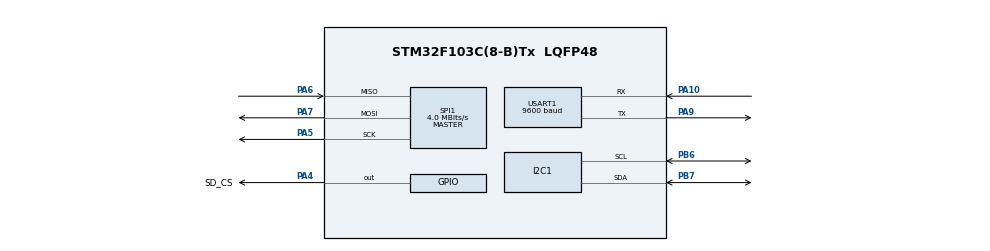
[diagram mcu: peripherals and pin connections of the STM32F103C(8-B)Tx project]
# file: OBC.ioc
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FATFS._MAX_SS=4096
Mcu.Family=STM32F1
Mcu.Name=STM32F103C(8-B)Tx
Mcu.Package=LQFP48
NVIC.I2C1_ER_IRQn=true\:0\:0\:false\:false\:true\:true\:true\:true
NVIC.I2C1_EV_IRQn=true\:0\:0\:false\:false\:true\:true\:true\:true
NVIC.PriorityGroup=NVIC_PRIORITYGROUP_4
PA10.Mode=Asynchronous
PA10.Signal=USART1_RX
PA13.Mode=Serial_Wire
PA13.Signal=SYS_JTMS-SWDIO
PA14.Mode=Serial_Wire
PA14.Signal=SYS_JTCK-SWCLK
PA4.GPIO_Label=SD_CS
PA4.Signal=GPIO_Output
PA5.Mode=Full_Duplex_Master
PA5.Signal=SPI1_SCK
PA6.Mode=Full_Duplex_Master
PA6.Signal=SPI1_MISO
PA7.Mode=Full_Duplex_Master
PA7.Signal=SPI1_MOSI
PA9.Mode=Asynchronous
PA9.Signal=USART1_TX
PB6.Mode=I2C
PB6.Signal=I2C1_SCL
PB7.Mode=I2C
PB7.Signal=I2C1_SDA
ProjectManager.HeapSize=0x200
ProjectManager.StackSize=0x400
ProjectManager.TargetToolchain=STM32CubeIDE
RCC.APB1Freq_Value=8000000
RCC.APB2Freq_Value=8000000
SPI1.BaudRatePrescaler=SPI_BAUDRATEPRESCALER_2
SPI1.CalculateBaudRate=4.0 MBits/s
SPI1.Direction=SPI_DIRECTION_2LINES
SPI1.Mode=SPI_MODE_MASTER
SPI1.VirtualType=VM_MASTER
USART1.BaudRate=9600
USART1.VirtualMode=VM_ASYNC
VP_FATFS_VS_Generic.Mode=User_defined
board=custom

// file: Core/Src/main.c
/* USER CODE BEGIN Header */
/**
 ******************************************************************************
 * @file           : main.c
 * @brief          : Main program body
 ******************************************************************************
 * @attention
 *
 * Copyright (c) 2025 STMicroelectronics.
 * All rights reserved.
 *
 * This software is licensed under terms that can be found in the LICENSE file
 * in the root directory of this software component.
 * If no LICENSE file comes with this software, it is provided AS-IS.
 *
 ******************************************************************************
 */
/* USER CODE END Header */
#include "main.h"
#include "fatfs.h"

/* USER CODE BEGIN Includes */

#include <stdbool.h>
#include <stdio.h>
#include <string.h>
#include "logging.h"
/* USER CODE END Includes */

I2C_HandleTypeDef hi2c1;

SPI_HandleTypeDef hspi1;

UART_HandleTypeDef huart1;

/* USER CODE BEGIN PV */
char uart_buffer[100];

/* USER CODE END PV */

void SystemClock_Config(void);
static void MX_GPIO_Init(void);
static void MX_USART1_UART_Init(void);
static void MX_SPI1_Init(void);
static void MX_I2C1_Init(void);
/* USER CODE BEGIN PFP */
void process_SD_card(void);
void test_SD_card(void);
/* USER CODE END PFP */

int main(void)
{

  /* MCU Configuration--------------------------------------------------------*/

  /* Reset of all peripherals, Initializes the Flash interface and the Systick. */
  HAL_Init();

  /* Configure the system clock */
  SystemClock_Config();

  /* Initialize all configured peripherals */
  MX_GPIO_Init();
  MX_USART1_UART_Init();
  MX_SPI1_Init();
  MX_FATFS_Init();
  MX_I2C1_Init();
  /* USER CODE BEGIN 2 */

  Log_Init(&huart1);

  // Test logging
  Log_Write(LOG_INFO, "System initialized (Proteus test mode)");
  Log_Write(LOG_INFO, "Starting SD card operations");

  process_SD_card();

  Log_Write(LOG_INFO, "SD card operations completed");
  /* USER CODE END 2 */

  /* Infinite loop */
  /* USER CODE BEGIN WHILE */
	while (1) {
        // Example of periodic logging
        Log_Write(LOG_DEBUG, "System running in Proteus");
        HAL_Delay(5000);
    /* USER CODE END WHILE */

	}
}

void SystemClock_Config(void)
{
  RCC_OscInitTypeDef RCC_OscInitStruct = {0};
  RCC_ClkInitTypeDef RCC_ClkInitStruct = {0};

  /** Initializes the RCC Oscillators according to the specified parameters
  * in the RCC_OscInitTypeDef structure.
  */
  RCC_OscInitStruct.OscillatorType = RCC_OSCILLATORTYPE_HSI;
  RCC_OscInitStruct.HSIState = RCC_HSI_ON;
  RCC_OscInitStruct.HSICalibrationValue = RCC_HSICALIBRATION_DEFAULT;
  RCC_OscInitStruct.PLL.PLLState = RCC_PLL_NONE;
  if (HAL_RCC_OscConfig(&RCC_OscInitStruct) != HAL_OK)
  {
    Error_Handler();
  }

  /** Initializes the CPU, AHB and APB buses clocks
  */
  RCC_ClkInitStruct.ClockType = RCC_CLOCKTYPE_HCLK|RCC_CLOCKTYPE_SYSCLK
                              |RCC_CLOCKTYPE_PCLK1|RCC_CLOCKTYPE_PCLK2;
  RCC_ClkInitStruct.SYSCLKSource = RCC_SYSCLKSOURCE_HSI;
  RCC_ClkInitStruct.AHBCLKDivider = RCC_SYSCLK_DIV1;
  RCC_ClkInitStruct.APB1CLKDivider = RCC_HCLK_DIV1;
  RCC_ClkInitStruct.APB2CLKDivider = RCC_HCLK_DIV1;

  if (HAL_RCC_ClockConfig(&RCC_ClkInitStruct, FLASH_LATENCY_0) != HAL_OK)
  {
    Error_Handler();
  }
}

static void MX_I2C1_Init(void)
{

  hi2c1.Instance = I2C1;
  hi2c1.Init.ClockSpeed = 100000;
  hi2c1.Init.DutyCycle = I2C_DUTYCYCLE_2;
  hi2c1.Init.OwnAddress1 = 0;
  hi2c1.Init.AddressingMode = I2C_ADDRESSINGMODE_7BIT;
  hi2c1.Init.DualAddressMode = I2C_DUALADDRESS_DISABLE;
  hi2c1.Init.OwnAddress2 = 0;
  hi2c1.Init.GeneralCallMode = I2C_GENERALCALL_DISABLE;
  hi2c1.Init.NoStretchMode = I2C_NOSTRETCH_DISABLE;
  if (HAL_I2C_Init(&hi2c1) != HAL_OK)
  {
    Error_Handler();
  }

}

static void MX_SPI1_Init(void)
{

  /* SPI1 parameter configuration*/
  hspi1.Instance = SPI1;
  hspi1.Init.Mode = SPI_MODE_MASTER;
  hspi1.Init.Direction = SPI_DIRECTION_2LINES;
  hspi1.Init.DataSize = SPI_DATASIZE_8BIT;
  hspi1.Init.CLKPolarity = SPI_POLARITY_LOW;
  hspi1.Init.CLKPhase = SPI_PHASE_1EDGE;
  hspi1.Init.NSS = SPI_NSS_SOFT;
  hspi1.Init.BaudRatePrescaler = SPI_BAUDRATEPRESCALER_2;
  hspi1.Init.FirstBit = SPI_FIRSTBIT_MSB;
  hspi1.Init.TIMode = SPI_TIMODE_DISABLE;
  hspi1.Init.CRCCalculation = SPI_CRCCALCULATION_DISABLE;
  hspi1.Init.CRCPolynomial = 10;
  if (HAL_SPI_Init(&hspi1) != HAL_OK)
  {
    Error_Handler();
  }

}

static void MX_USART1_UART_Init(void)
{

  huart1.Instance = USART1;
  huart1.Init.BaudRate = 9600;
  huart1.Init.WordLength = UART_WORDLENGTH_8B;
  huart1.Init.StopBits = UART_STOPBITS_1;
  huart1.Init.Parity = UART_PARITY_NONE;
  huart1.Init.Mode = UART_MODE_TX_RX;
  huart1.Init.HwFlowCtl = UART_HWCONTROL_NONE;
  huart1.Init.OverSampling = UART_OVERSAMPLING_16;
  if (HAL_UART_Init(&huart1) != HAL_OK)
  {
    Error_Handler();
  }

}

static void MX_GPIO_Init(void)
{
  GPIO_InitTypeDef GPIO_InitStruct = {0};

  /* GPIO Ports Clock Enable */
  __HAL_RCC_GPIOA_CLK_ENABLE();
  __HAL_RCC_GPIOB_CLK_ENABLE();

  /*Configure GPIO pin Output Level */
  HAL_GPIO_WritePin(SD_CS_GPIO_Port, SD_CS_Pin, GPIO_PIN_RESET);

  /*Configure GPIO pin : SD_CS_Pin */
  GPIO_InitStruct.Pin = SD_CS_Pin;
  GPIO_InitStruct.Mode = GPIO_MODE_OUTPUT_PP;
  GPIO_InitStruct.Pull = GPIO_NOPULL;
  GPIO_InitStruct.Speed = GPIO_SPEED_FREQ_LOW;
  HAL_GPIO_Init(SD_CS_GPIO_Port, &GPIO_InitStruct);

}

/* USER CODE BEGIN 4 */
// In your main.c or a separate timer file
/*extern uint16_t Timer1, Timer2;

 void HAL_SYSTICK_Callback(void)
 {
 if(Timer1 > 0)
 Timer1--;
 if(Timer2 > 0)
 Timer2--;
 }*/

void process_SD_card(void) {
    FATFS FatFs;
    FRESULT fres;
    uint8_t retry_count = 0;
    const uint8_t max_retries = 3;
    char status_msg[60];

    while(retry_count < max_retries) {
        fres = f_mount(&FatFs, "", 1); // 1=Mount now

        if(fres == FR_OK) {
            uint32_t total, free;
            FATFS* fs;
            if(f_getfree("", &free, &fs) == FR_OK) {
                total = (fs->n_fatent - 2) * fs->csize / 2; // Total KB
                free = free * fs->csize / 2; // Free KB
                snprintf(status_msg, sizeof(status_msg),
                    "SD mounted (Free: %lukB/%lukB)", free, total);
                Log_Write(LOG_INFO, status_msg);
                break;
            }
        }

        snprintf(status_msg, sizeof(status_msg),
            "Mount failed (Attempt %d/%d)", retry_count+1, max_retries);
        Log_Write(LOG_WARNING, status_msg);
        HAL_Delay(500);
        retry_count++;
    }

    if(retry_count >= max_retries) {
        Log_Write(LOG_CRITICAL, "SD mount failed permanently");
        return;
    }

    /* ... rest of SD operations ... */
}

void test_SD_card(void) {
	FATFS FatFs;                //Fatfs handle
	FIL fil;                  //File handle
	FRESULT fres;                 //Result after operations
	char buf[100];
	do {
		//Mount the SD Card
		fres = f_mount(&FatFs, "", 1);    //1=mount now
		if (fres != FR_OK) {
			char msg[] = "No SD Card found\r\n";
			HAL_UART_Transmit(&huart1, (uint8_t*) msg, strlen(msg),
					HAL_MAX_DELAY);
			HAL_Delay(1000);
			do {
				fres = f_mount(&FatFs, "", 1);    //1=mount
			} while (fres != FR_OK);
		}

		char msg1[] = "SD Card Mounted Successfully!!!\r\n";
		HAL_UART_Transmit(&huart1, (uint8_t*) msg1, strlen(msg1),
				HAL_MAX_DELAY);
		HAL_Delay(1000);

		//Read the SD Card Total size and Free Size
		FATFS *pfs;
		DWORD fre_clust;
		uint32_t totalSpace, freeSpace;

		f_getfree("", &fre_clust, &pfs);
		totalSpace = (uint32_t) ((pfs->n_fatent - 2) * pfs->csize * 0.5);
		freeSpace = (uint32_t) (fre_clust * pfs->csize * 0.5);

		char spaceMsg[100];
		sprintf(spaceMsg, "TotalSpace : %lu bytes, FreeSpace = %lu bytes\r\n",
				totalSpace, freeSpace);
		HAL_UART_Transmit(&huart1, (uint8_t*) spaceMsg, strlen(spaceMsg),
				HAL_MAX_DELAY);
		HAL_Delay(1000);

		//Open the file
		fres = f_open(&fil, "mo3ti.txt", FA_WRITE | FA_READ | FA_CREATE_ALWAYS);
		if (fres != FR_OK) {
			char errorMsg[] = "File creation/open Error\r\n";
			HAL_UART_Transmit(&huart1, (uint8_t*) errorMsg, strlen(errorMsg),
					HAL_MAX_DELAY);
			break;
		}

		char writeMsg[] = "Writing data!!!\r\n";
		HAL_UART_Transmit(&huart1, (uint8_t*) writeMsg, strlen(writeMsg),
				HAL_MAX_DELAY);
		HAL_Delay(1000);

		//write the data
		char uart_buffer[100];
		uint8_t rx_data;
		uint8_t index = 0;

		while (1) {
			if (HAL_UART_Receive(&huart1, &rx_data, 1, 100) == HAL_OK) {
				if (rx_data == '#') {
					uart_buffer[index] = '\0';
					f_close(&fil);
					// Open for reading
					fres = f_open(&fil, "mo3ti.txt", FA_READ);
					f_gets(uart_buffer, sizeof(uart_buffer), &fil);
					char readMsg[] = "Data Read\r\n";
					HAL_UART_Transmit(&huart1, (uint8_t*) readMsg,
							strlen(readMsg), HAL_MAX_DELAY);
					f_close(&fil);
					break;
				} else if (rx_data == '\r') {
					uart_buffer[index] = '\0';
					f_puts(uart_buffer, &fil);
					f_puts("\n", &fil);
					char savedMsg[] = "Saved\r\n";
					HAL_UART_Transmit(&huart1, (uint8_t*) savedMsg,
							strlen(savedMsg), HAL_MAX_DELAY);
					index = 0;
				} else {
					uart_buffer[index++] = rx_data;
					HAL_UART_Transmit(&huart1, &rx_data, 1, 100);
				}
			}
		}

		//close your file
		f_close(&fil);
		//Open the file
		fres = f_open(&fil, "mo3ti.txt", FA_READ);
		if (fres != FR_OK) {
			char errorMsg[] = "File opening Error\r\n";
			HAL_UART_Transmit(&huart1, (uint8_t*) errorMsg, strlen(errorMsg),
					HAL_MAX_DELAY);
			HAL_Delay(1000);
			break;
		}

		//read the data
		f_gets(buf, sizeof(buf), &fil);

		char readDataMsg[] = "Read Data\r\n";
		HAL_UART_Transmit(&huart1, (uint8_t*) readDataMsg, strlen(readDataMsg),
				HAL_MAX_DELAY);
		HAL_Delay(1000);

		//close your file
		f_close(&fil);
		char closeMsg[] = "Closing File!\r\n";
		HAL_UART_Transmit(&huart1, (uint8_t*) closeMsg, strlen(closeMsg),
				HAL_MAX_DELAY);
		HAL_Delay(1000);

	} while (false);

	//We're done, so de-mount the drive
	f_mount(NULL, "", 0);
	char endMsg[] = "SD Card session ended\r\n";
	HAL_UART_Transmit(&huart1, (uint8_t*) endMsg, strlen(endMsg),
			HAL_MAX_DELAY);
}

/* USER CODE END 4 */

void Error_Handler(void)
{
	__disable_irq();
	while (1) {
	}
}
